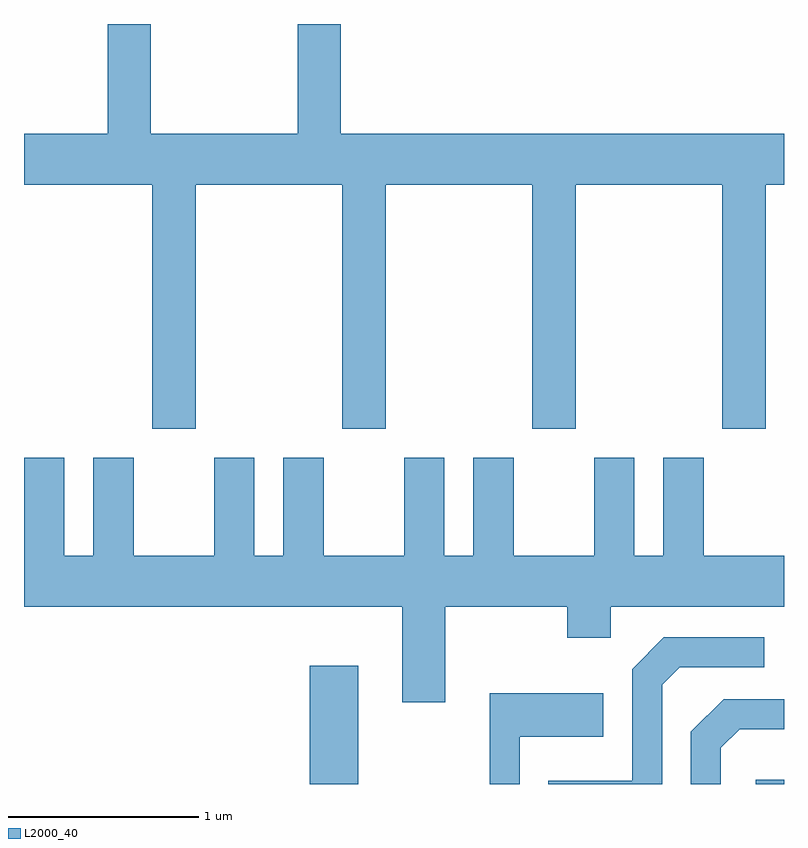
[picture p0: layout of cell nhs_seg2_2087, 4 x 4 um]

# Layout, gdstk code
import gdstk
lib = gdstk.Library(unit=1e-6, precision=1e-09)
def R(c, l, rs):  # rectangles x0, y0, x1, y1
    for r in rs: c.add(gdstk.rectangle(r[:2], r[2:], *l))
def P(c, l, *ps):  # polygons
    for p in ps: c.add(gdstk.Polygon(p, *l))
L2000_40 = (2000, 40)

nhs_seg2_2087 = lib.new_cell('nhs_seg2_2087')
R(nhs_seg2_2087, L2000_40, [(247.116,1071.802,247.369,1072.424), (249.461,1071.802,249.611,1071.824)])
P(nhs_seg2_2087, L2000_40, [(246.514,1074.956),(247.286,1074.956),(247.286,1073.671),(247.514,1073.671),(247.514,1074.956),(248.286,1074.956),(248.286,1073.671),(248.514,1073.671),(248.514,1074.956),(249.286,1074.956),(249.286,1073.671),(249.514,1073.671),(249.514,1074.956),(249.611,1074.956),(249.611,1075.224),(247.279,1075.224),(247.279,1075.802),(247.051,1075.802),(247.051,1075.224),(246.279,1075.224),(246.279,1075.802),(246.051,1075.802),(246.051,1075.224),(245.611,1075.224),(245.611,1074.956),(246.286,1074.956),(246.286,1073.671),(246.514,1073.671)],
  [(247.829,1072.736),(248.471,1072.736),(248.471,1072.571),(248.699,1072.571),(248.699,1072.736),(249.611,1072.736),(249.611,1073.004),(249.189,1073.004),(249.189,1073.519),(248.976,1073.519),(248.976,1073.004),(248.824,1073.004),(248.824,1073.519),(248.611,1073.519),(248.611,1073.004),(248.189,1073.004),(248.189,1073.519),(247.976,1073.519),(247.976,1073.004),(247.824,1073.004),(247.824,1073.519),(247.611,1073.519),(247.611,1073.004),(247.189,1073.004),(247.189,1073.519),(246.976,1073.519),(246.976,1073.004),(246.824,1073.004),(246.824,1073.519),(246.611,1073.519),(246.611,1073.004),(246.189,1073.004),(246.189,1073.519),(245.976,1073.519),(245.976,1073.004),(245.824,1073.004),(245.824,1073.519),(245.611,1073.519),(245.611,1072.736),(247.601,1072.736),(247.601,1072.231),(247.829,1072.231)],
  [(248.969,1072.324),(249.062,1072.416),(249.508,1072.416),(249.508,1072.574),(248.979,1072.574),(248.811,1072.407),(248.811,1071.819),(248.371,1071.819),(248.371,1071.802),(248.969,1071.802)],
  [(248.219,1072.051),(248.659,1072.051),(248.659,1072.279),(248.061,1072.279),(248.061,1071.802),(248.219,1071.802)],
  [(249.279,1071.994),(249.377,1072.091),(249.611,1072.091),(249.611,1072.249),(249.294,1072.249),(249.121,1072.077),(249.121,1071.802),(249.279,1071.802)])

lib.write_gds('nhs_seg2_2087.gds')
